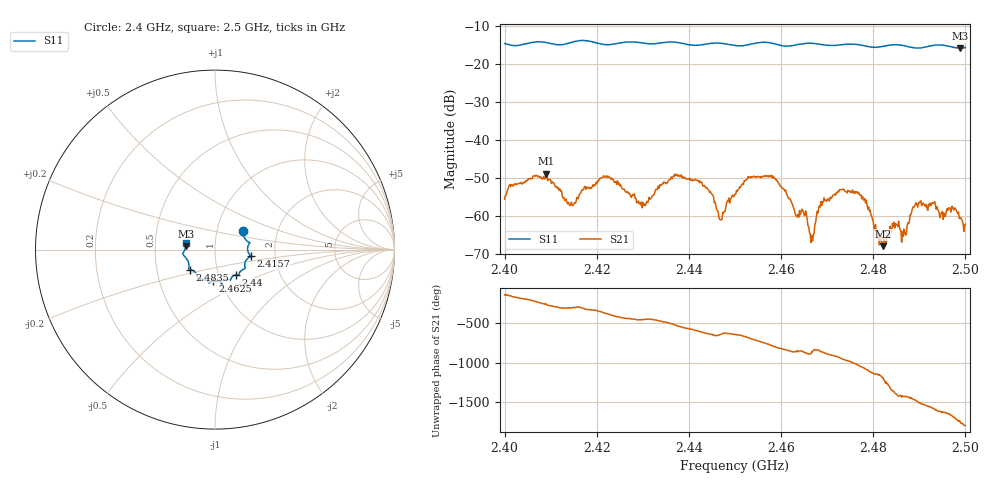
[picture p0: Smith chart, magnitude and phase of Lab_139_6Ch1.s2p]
# Hz S RI R 50
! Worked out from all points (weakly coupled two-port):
!   601 points, 2.4 GHz to 2.5 GHz, reference 50 ohm
!   highest |S21| = -48.81 dB at 2.409 GHz (marker M1); lowest = -67.9 dB at 2.4822 GHz (marker M2)
!   lowest |S11| = -15.7 dB at 2.4988 GHz (marker M3), VSWR 1.39, Z = 36 + j1.39 ohm
!   |S11| at or under -10 dB: start of sweep to end of sweep
!   S12 and S22 are empty: the file has one direction only
!   S11 on the Smith chart (normalised r, x): 2.4 GHz: 1.33, +0.29; 2.4157 GHz: 1.49, -0.12; 2.44 GHz: 1.21, -0.35; 2.4625 GHz: 0.92, -0.34; 2.4835 GHz: 0.74, -0.17; 2.5 GHz: 0.72, +0.06
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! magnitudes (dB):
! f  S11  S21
! 2.4 GHz  -14.5  -55.5
! 2.409 GHz  -14.3  -48.8
! 2.4157 GHz  -13.8  -55.1
! 2.4167 GHz  -13.7  -53.4
! 2.43 GHz  -14.4  -56.4
! 2.4333 GHz  -14.4  -52.1
! 2.44 GHz  -14.8  -50.1
! 2.4468 GHz  -14.4  -61.0
! 2.45 GHz  -15.0  -54.2
! 2.4577 GHz  -14.3  -49.6
! 2.4625 GHz  -15.0  -56.9
! 2.4667 GHz  -14.4  -65.1
! 2.4688 GHz  -14.8  -57.2
! 2.4732 GHz  -14.8  -53.1
! 2.4782 GHz  -15.1  -55.4
! 2.4822 GHz  -15.2  -67.9
! 2.4833 GHz  -15.0  -64.7
! 2.4835 GHz  -14.9  -65.0
! 2.4867 GHz  -15.1  -63.4
! 2.4898 GHz  -15.7  -56.5
! 2.4988 GHz  -15.7  -60.5
! 2.5 GHz  -15.6  -62.1
